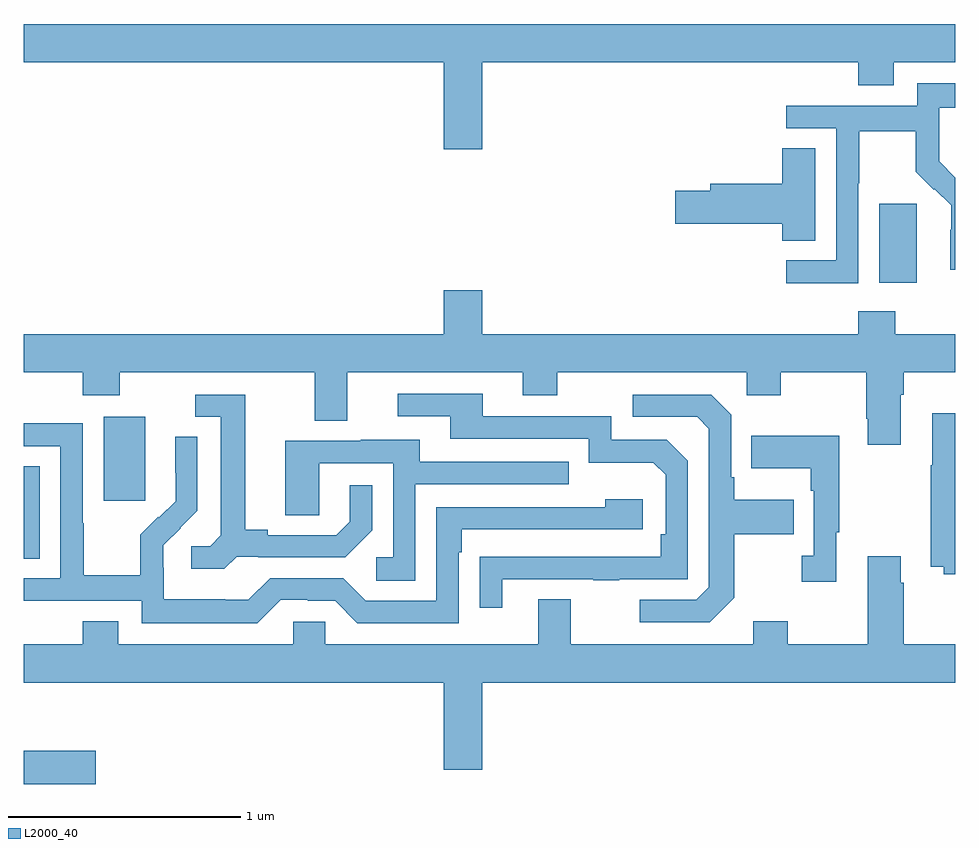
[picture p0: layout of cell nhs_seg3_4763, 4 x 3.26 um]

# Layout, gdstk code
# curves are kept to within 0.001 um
import gdstk
lib = gdstk.Library(unit=1e-6, precision=1e-09)
def R(c, l, rs):  # rectangles x0, y0, x1, y1
    for r in rs: c.add(gdstk.rectangle(r[:2], r[2:], *l))
def P(c, l, *ps):  # polygons
    for p in ps: c.add(gdstk.Polygon(p, *l))
L2000_40 = (2000, 40)

nhs_seg3_4763 = lib.new_cell('nhs_seg3_4763')
R(nhs_seg3_4763, L2000_40, [(367,716.465,367.309,716.607), (367,717.433,367.069,717.83), (367.343,717.681,367.522,718.042), (370.673,718.617,370.834,718.957)])
P(nhs_seg3_4763, L2000_40, [(368.968,719.564),(370.583,719.564),(370.583,719.465),(370.735,719.465),(370.735,719.564),(371,719.564),(371,719.728),(367,719.728),(367,719.564),(368.804,719.564),(368.804,719.19),(368.968,719.19)],
  [(370.584,719.044),(370.587,719.044),(370.587,719.268),(370.831,719.268),(370.831,719.093),(370.908,719.016),(370.911,719.019),(370.982,718.949),(370.982,718.844),(370.979,718.844),(370.979,718.672),(371,718.672),(371,719.068),(370.93,719.138),(370.93,719.235),(370.932,719.235),(370.932,719.369),(371,719.369),(371,719.473),(370.836,719.473),(370.836,719.376),(370.275,719.376),(370.275,719.28),(370.488,719.28),(370.488,718.713),(370.275,718.713),(370.275,718.615),(370.584,718.615)],
  [(370.399,719.195),(370.256,719.195),(370.256,719.042),(369.947,719.042),(369.947,719.012),(369.798,719.012),(369.798,718.87),(370.256,718.87),(370.256,718.798),(370.399,718.798)],
  [(370.765,718.136),(370.778,718.136),(370.778,718.232),(371,718.232),(371,718.396),(370.743,718.396),(370.743,718.495),(370.583,718.495),(370.583,718.396),(368.968,718.396),(368.968,718.585),(368.804,718.585),(368.804,718.396),(367,718.396),(367,718.232),(367.253,718.232),(367.253,718.133),(367.413,718.133),(367.413,718.232),(368.249,718.232),(368.249,718.024),(368.389,718.024),(368.389,718.232),(369.143,718.232),(369.143,718.133),(369.291,718.133),(369.291,718.232),(370.104,718.232),(370.104,718.133),(370.251,718.133),(370.251,718.232),(370.618,718.232),(370.618,718.033),(370.625,718.033),(370.625,717.921),(370.765,717.921)],
  [(369.055,717.345),(369.445,717.345),(369.445,717.34),(369.557,717.34),(369.557,717.345),(369.852,717.345),(369.852,717.852),(369.762,717.942),(369.522,717.942),(369.522,718.044),(368.971,718.044),(368.971,718.14),(368.607,718.14),(368.607,718.044),(368.831,718.044),(368.831,717.948),(369.426,717.948),(369.426,717.845),(369.703,717.845),(369.756,717.792),(369.756,717.538),(369.736,717.538),(369.736,717.441),(368.959,717.44),(368.959,717.222),(369.055,717.222)],
  [(370.051,717.265),(370.051,717.538),(370.307,717.538),(370.307,717.685),(370.051,717.685),(370.051,717.781),(370.038,717.781),(370.038,718.05),(369.951,718.137),(369.615,718.137),(369.615,718.041),(369.891,718.041),(369.942,717.99),(369.942,717.309),(369.888,717.255),(369.645,717.255),(369.645,717.159),(369.945,717.159)],
  [(367.914,717.441),(368.008,717.441),(368.008,717.438),(368.38,717.438),(368.496,717.554),(368.496,717.748),(368.399,717.748),(368.399,717.591),(368.342,717.534),(368.047,717.534),(368.047,717.557),(367.951,717.557),(367.951,718.137),(367.737,718.137),(367.737,718.041),(367.847,718.041),(367.847,717.533),(367.8,717.486),(367.719,717.486),(367.719,717.389),(367.862,717.389)],
  [(371,718.057),(370.901,718.057),(370.901,717.833),(370.894,717.833),(370.894,717.398),(370.95,717.398),(370.95,717.366),(371,717.366)],
  [(368.103,717.255),(368.219,717.255),(368.219,717.252),(368.337,717.252),(368.433,717.156),(368.868,717.156),(368.868,717.461),(368.881,717.461),(368.881,717.558),(369.658,717.558),(369.658,717.688),(369.497,717.688),(369.497,717.654),(368.772,717.654),(368.772,717.252),(368.469,717.252),(368.373,717.348),(368.058,717.348),(367.965,717.255),(367.865,717.255),(367.865,717.259),(367.602,717.259),(367.602,717.393),(367.6,717.393),(367.6,717.49),(367.746,717.638),(367.746,717.956),(367.65,717.956),(367.65,717.802),(367.652,717.802),(367.652,717.68),(367.581,717.609),(367.578,717.612),(367.501,717.535),(367.501,717.361),(367.257,717.361),(367.257,717.584),(367.254,717.584),(367.254,718.014),(367,718.014),(367,717.915),(367.158,717.915),(367.158,717.348),(367,717.348),(367,717.252),(367.506,717.252),(367.506,717.155),(368.003,717.155)],
  [(370.489,717.545),(370.501,717.545),(370.501,717.961),(370.123,717.961),(370.123,717.821),(370.38,717.821),(370.38,717.725),(370.392,717.725),(370.392,717.446),(370.341,717.446),(370.341,717.333),(370.489,717.333)],
  [(368.682,717.753),(369.341,717.753),(369.341,717.849),(368.701,717.849),(368.701,717.943),(368.447,717.943),(368.447,717.939),(368.123,717.939),(368.123,717.619),(368.268,717.619),(368.268,717.843),(368.586,717.843),(368.586,717.438),(368.514,717.438),(368.514,717.337),(368.682,717.337)],
  [(368.968,716.9),(371,716.9),(371,717.064),(370.778,717.064),(370.778,717.329),(370.765,717.329),(370.765,717.442),(370.625,717.442),(370.625,717.064),(370.281,717.064),(370.281,717.163),(370.133,717.163),(370.133,717.064),(369.349,717.064),(369.349,717.259),(369.209,717.259),(369.209,717.064),(368.295,717.064),(368.295,717.162),(368.157,717.162),(368.157,717.064),(367.405,717.064),(367.405,717.163),(367.253,717.163),(367.253,717.064),(367,717.064),(367,716.9),(368.804,716.9),(368.804,716.526),(368.968,716.526)])

lib.write_gds('nhs_seg3_4763.gds')
